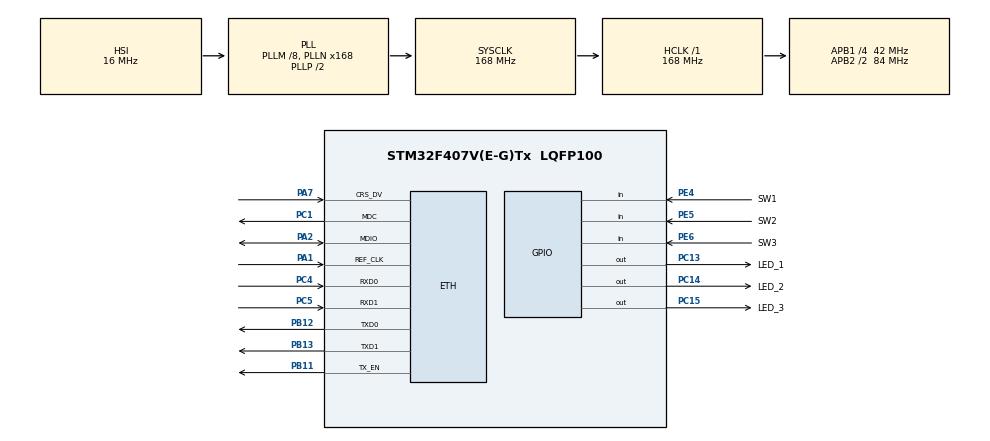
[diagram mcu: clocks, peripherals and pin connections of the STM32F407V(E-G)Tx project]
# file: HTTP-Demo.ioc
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Mcu.Family=STM32F4
RCC.CortexFreq_Value=168000000
LWIP.LWIP_HTTPD_SSI=1
LWIP.LWIP_HTTPD_MAX_TAG_INSERT_LEN=256
PC5.Mode=RMII
PB11.Signal=ETH_TX_EN
PB13.Signal=ETH_TXD1
PC15-OSC32_OUT.GPIO_Label=LED_3
PE6.GPIO_Label=SW3
RCC.SYSCLKSource=RCC_SYSCLKSOURCE_PLLCLK
ProjectManager.StackSize=0x400
VP_FREERTOS_VS_CMSIS_V2.Mode=CMSIS_V2
LWIP.NETMASK_ADDRESS=255.255.255.000
LWIP.LWIP_HTTPD=1
RCC.HCLKFreq_Value=168000000
RCC.APB2TimFreq_Value=168000000
PE5.Signal=GPIO_Input
RCC.AHBFreq_Value=168000000
NVIC.ETH_IRQn=true\:5\:0\:false\:false\:true\:true\:false\:true
RCC.HSE_VALUE=25000000
PC13-ANTI_TAMP.Signal=GPIO_Output
PA14.Mode=Serial_Wire
VP_SYS_VS_tim1.Mode=TIM1
PE4.GPIO_Label=SW1
ETH.RxMode=ETH_RXINTERRUPT_MODE
LWIP.LWIP_HTTPD_CGI=1
PE4.Signal=GPIO_Input
Mcu.Package=LQFP100
PB12.Mode=RMII
NVIC.TimeBase=TIM1_UP_TIM10_IRQn
LWIP.LWIP_HTTPD_SUPPORT_11_KEEPALIVE=1
NVIC.TimeBaseIP=TIM1
RCC.APB2CLKDivider=RCC_HCLK_DIV2
RCC.APB1TimFreq_Value=84000000
PC14-OSC32_IN.GPIO_Label=LED_2
PC5.Signal=ETH_RXD1
PB13.Mode=RMII
PC4.Mode=RMII
LWIP.IP_ADDRESS=192.168.100.100
FREERTOS.Tasks01=mainTask,24,128,StartMainTask,Default,NULL,Static,mainTaskBuffer,mainTaskControlBlock
PA7.Mode=RMII
PC13-ANTI_TAMP.GPIO_Label=LED_1
PC4.Signal=ETH_RXD0
LWIP.LWIP_HTTPD_MAX_TAG_NAME_LEN=16
LWIP.LWIP_DHCP=0
RCC.APB1CLKDivider=RCC_HCLK_DIV4
PC14-OSC32_IN.Signal=GPIO_Output
VP_LWIP_VS_Enabled.Mode=Enabled
LWIP.GATEWAY_ADDRESS=192.168.100.250
PA13.Signal=SYS_JTMS-SWDIO
ETH.PHY_Name_RMII=DP83848_PHY_ADDRESS
LWIP.LWIP_HTTPD_SUPPORT_POST=0
PB11.Mode=RMII
ProjectManager.TargetToolchain=MDK-ARM V5.27
RCC.LSE_VALUE=32768
PC15-OSC32_OUT.Signal=GPIO_Output
PA1.Signal=ETH_REF_CLK
board=custom
RCC.VCOOutputFreq_Value=336000000
RCC.APB2Freq_Value=84000000
PA1.Mode=RMII
LWIP.LWIP_HTTPD_CGI_SSI=0
PE6.Signal=GPIO_Input
PA13.Mode=Serial_Wire
Mcu.Name=STM32F407V(E-G)Tx
PA2.Signal=ETH_MDIO
RCC.48MHZClocksFreq_Value=84000000
RCC.SYSCLKFreq_VALUE=168000000
ETH.MediaInterface=ETH_MEDIA_INTERFACE_RMII
PE5.GPIO_Label=SW2
PA14.Signal=SYS_JTCK-SWCLK
ProjectManager.HeapSize=0x200
LWIP.LWIP_HTTPD_CUSTOM_FILES=1
LWIP.Version=v2.1.2_Cube
NVIC.TIM1_UP_TIM10_IRQn=true\:0\:0\:false\:false\:true\:false\:false\:true
RCC.HSI_VALUE=16000000
NVIC.PriorityGroup=NVIC_PRIORITYGROUP_4
RCC.PLLM=8
RCC.PLLN=168
PA2.Mode=RMII
RCC.APB1Freq_Value=42000000
PC1.Signal=ETH_MDC
PB12.Signal=ETH_TXD0
PC1.Mode=RMII
PA7.Signal=ETH_CRS_DV

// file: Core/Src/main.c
/* USER CODE BEGIN Header */
/**
  ******************************************************************************
  * @file           : main.c
  * @brief          : Main program body
  ******************************************************************************
  * @attention
  *
  * <h2><center>&copy; Copyright (c) 2021 STMicroelectronics.
  * All rights reserved.</center></h2>
  *
  * This software component is licensed by ST under Ultimate Liberty license
  * SLA0044, the "License"; You may not use this file except in compliance with
  * the License. You may obtain a copy of the License at:
  *                             www.st.com/SLA0044
  *
  ******************************************************************************
  */
/* USER CODE END Header */
#include "main.h"
#include "cmsis_os.h"
#include "lwip.h"
#include "gpio.h"

void SystemClock_Config(void);
void MX_FREERTOS_Init(void);

int main(void)
{

  /* MCU Configuration--------------------------------------------------------*/

  /* Reset of all peripherals, Initializes the Flash interface and the Systick. */
  HAL_Init();

  /* Configure the system clock */
  SystemClock_Config();

  /* Initialize all configured peripherals */
  MX_GPIO_Init();

  /* Init scheduler */
  osKernelInitialize();  /* Call init function for freertos objects (in freertos.c) */
  MX_FREERTOS_Init();
  /* Start scheduler */
  osKernelStart();

  /* We should never get here as control is now taken by the scheduler */
  /* Infinite loop */
  while (1)
  {

  }
}

void SystemClock_Config(void)
{
  RCC_OscInitTypeDef RCC_OscInitStruct = {0};
  RCC_ClkInitTypeDef RCC_ClkInitStruct = {0};

  /** Configure the main internal regulator output voltage
  */
  __HAL_RCC_PWR_CLK_ENABLE();
  __HAL_PWR_VOLTAGESCALING_CONFIG(PWR_REGULATOR_VOLTAGE_SCALE1);
  /** Initializes the RCC Oscillators according to the specified parameters
  * in the RCC_OscInitTypeDef structure.
  */
  RCC_OscInitStruct.OscillatorType = RCC_OSCILLATORTYPE_HSI;
  RCC_OscInitStruct.HSIState = RCC_HSI_ON;
  RCC_OscInitStruct.HSICalibrationValue = RCC_HSICALIBRATION_DEFAULT;
  RCC_OscInitStruct.PLL.PLLState = RCC_PLL_ON;
  RCC_OscInitStruct.PLL.PLLSource = RCC_PLLSOURCE_HSI;
  RCC_OscInitStruct.PLL.PLLM = 8;
  RCC_OscInitStruct.PLL.PLLN = 168;
  RCC_OscInitStruct.PLL.PLLP = RCC_PLLP_DIV2;
  RCC_OscInitStruct.PLL.PLLQ = 4;
  if (HAL_RCC_OscConfig(&RCC_OscInitStruct) != HAL_OK)
  {
    Error_Handler();
  }
  /** Initializes the CPU, AHB and APB buses clocks
  */
  RCC_ClkInitStruct.ClockType = RCC_CLOCKTYPE_HCLK|RCC_CLOCKTYPE_SYSCLK
                              |RCC_CLOCKTYPE_PCLK1|RCC_CLOCKTYPE_PCLK2;
  RCC_ClkInitStruct.SYSCLKSource = RCC_SYSCLKSOURCE_PLLCLK;
  RCC_ClkInitStruct.AHBCLKDivider = RCC_SYSCLK_DIV1;
  RCC_ClkInitStruct.APB1CLKDivider = RCC_HCLK_DIV4;
  RCC_ClkInitStruct.APB2CLKDivider = RCC_HCLK_DIV2;

  if (HAL_RCC_ClockConfig(&RCC_ClkInitStruct, FLASH_LATENCY_5) != HAL_OK)
  {
    Error_Handler();
  }
}

 /**
  * @brief  Period elapsed callback in non blocking mode
  * @note   This function is called  when TIM1 interrupt took place, inside
  * HAL_TIM_IRQHandler(). It makes a direct call to HAL_IncTick() to increment
  * a global variable "uwTick" used as application time base.
  * @param  htim : TIM handle
  * @retval None
  */
void HAL_TIM_PeriodElapsedCallback(TIM_HandleTypeDef *htim)
{
  if (htim->Instance == TIM1) {
    HAL_IncTick();
  }
}

void Error_Handler(void)
{
  __disable_irq();
  while (1)
  {
  }
}

/************************ (C) COPYRIGHT STMicroelectronics *****END OF FILE****/

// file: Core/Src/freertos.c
/* USER CODE BEGIN Header */
/**
  ******************************************************************************
  * File Name          : freertos.c
  * Description        : Code for freertos applications
  ******************************************************************************
  * @attention
  *
  * <h2><center>&copy; Copyright (c) 2021 STMicroelectronics.
  * All rights reserved.</center></h2>
  *
  * This software component is licensed by ST under Ultimate Liberty license
  * SLA0044, the "License"; You may not use this file except in compliance with
  * the License. You may obtain a copy of the License at:
  *                             www.st.com/SLA0044
  *
  ******************************************************************************
  */
/* USER CODE END Header */

#include "FreeRTOS.h"
#include "task.h"
#include "main.h"
#include "cmsis_os.h"

/* USER CODE BEGIN Includes */
#include "lwip/apps/httpd.h"
#include "lwip/apps/fs.h"
#include <string.h>
#include "smm_hd44780.h"
/* USER CODE END Includes */

typedef StaticTask_t osStaticThreadDef_t;

/* Definitions for mainTask */
osThreadId_t mainTaskHandle;
uint32_t mainTaskBuffer[ 128 ];
osStaticThreadDef_t mainTaskControlBlock;
const osThreadAttr_t mainTask_attributes = {
  .name = "mainTask",
  .stack_mem = &mainTaskBuffer[0],
  .stack_size = sizeof(mainTaskBuffer),
  .cb_mem = &mainTaskControlBlock,
  .cb_size = sizeof(mainTaskControlBlock),
  .priority = (osPriority_t) osPriorityNormal,
};

/* USER CODE BEGIN FunctionPrototypes */
static const char* WEB_SSI_TAGS[] = {
	"sw1",
	"sw2",
	"sw3",
};

static const char HIGH[] = "High";
static const int HIGH_LEN = sizeof(HIGH) - 1;
static const char LOW[] = "Low";
static const int LOW_LEN = sizeof(LOW) - 1;

static const char* swStates[] = {
	HIGH,
	HIGH,
	HIGH,
};

static const int WEB_SSI_TAGS_LEN = sizeof(WEB_SSI_TAGS) / sizeof(WEB_SSI_TAGS[0]);

static const char MY_PAGE[] = "This is My Page";
static const int MY_PAGE_LEN = sizeof(MY_PAGE) - 1;

static const char PAGE_DONE[] = "Done";
static const int PAGE_DONE_LEN = sizeof(PAGE_DONE) - 1;

static const char PAGE_ERROR[] = "Error";
static const int PAGE_ERROR_LEN = sizeof(PAGE_ERROR) - 1;

u16_t Web_ssiHandler(
#if LWIP_HTTPD_SSI_RAW
                             const char* ssi_tag_name,
#else /* LWIP_HTTPD_SSI_RAW */
                             int iIndex,
#endif /* LWIP_HTTPD_SSI_RAW */
                             char *pcInsert, int iInsertLen
#if LWIP_HTTPD_SSI_MULTIPART
                             , u16_t current_tag_part, u16_t *next_tag_part
#endif /* LWIP_HTTPD_SSI_MULTIPART */
#if defined(LWIP_HTTPD_FILE_STATE) && LWIP_HTTPD_FILE_STATE
                             , void *connection_state
#endif /* LWIP_HTTPD_FILE_STATE */

														 ) {

	strcpy(pcInsert, swStates[iIndex]);
	return swStates[iIndex] == HIGH ? HIGH_LEN : LOW_LEN;
}

const char* Web_ledHandler(int iIndex, int iNumParams, char *pcParam[], char *pcValue[]) {
	if (iNumParams == 2) {
		if (strcmp(pcParam[0], "num") == 0 && strcmp(pcParam[1], "state") == 0) {
			int num;
			int state;
			sscanf(pcValue[0], "%d", &num);
			sscanf(pcValue[1], "%d", &state);
			if ((num >= 0 && num <= 2) && (state == 0 || state == 1)) {
				switch (num) {
					case 0:
						HAL_GPIO_WritePin(LED_1_GPIO_Port, LED_1_Pin, (GPIO_PinState) state);
						break;
					case 1:
						HAL_GPIO_WritePin(LED_2_GPIO_Port, LED_2_Pin, (GPIO_PinState) state);
						break;
					case 2:
						HAL_GPIO_WritePin(LED_3_GPIO_Port, LED_3_Pin, (GPIO_PinState) state);
						break;
				}
				return "/done";
			}
		}
		return "/error";
	}
	else {
		return "/404.html";
	}
}

const char* Web_alcdHandler(int iIndex, int iNumParams, char *pcParam[], char *pcValue[]) {
	if (iNumParams == 1) {
		if (strcmp(pcParam[0], "text") == 0) {
			HD44780_Clear();
			HD44780_Puts(0, 0, pcValue[0]);
			return "/done";
		}
		else {
			return "/error";
		}
	}
	return "/404.html";
}

int fs_open_custom(struct fs_file *file, const char *name) {
	if (strcmp(name, "/mypage.html") == 0 || strcmp(name, "/mypage") == 0) {
		file->index = MY_PAGE_LEN;
		file->data = MY_PAGE;
		file->len = MY_PAGE_LEN;
		file->pextension = NULL;
		file->flags = 0;
		return 1;
	}
	else if (strcmp(name, "/done") == 0) {
		file->index = PAGE_DONE_LEN;
		file->data = PAGE_DONE;
		file->len = PAGE_DONE_LEN;
		file->pextension = NULL;
		file->flags = 0;
		return 1;
	}
	else if (strcmp(name, "/error") == 0) {
		file->index = PAGE_ERROR_LEN;
		file->data = PAGE_ERROR;
		file->len = PAGE_ERROR_LEN;
		file->pextension = NULL;
		file->flags = 0;
		return 1;
	}
	return 0;
}
void fs_close_custom(struct fs_file *file) {
	/*file->index = 0;
	file->data = NULL;
	file->len = 0;
	file->pextension = NULL;
	file->flags = 0;*/
}
int fs_read_custom(struct fs_file *file, char *buffer, int count) {
	if (file->index < file->len) {
		int left = fs_bytes_left(file);
		if (count < left) {
			left = count;
		}
		memcpy(buffer, &file->data[file->index], count);
		file->index += left;
		return fs_bytes_left(file);
	}
	else {
		return FS_READ_EOF;
	}
}

static const tCGI WEB_CGI_HANDLERS[] = {
	{"/led", Web_ledHandler},
	{"/alcd", Web_alcdHandler},
};
static const int WEB_CGI_HANDLERS_LEN = sizeof(WEB_CGI_HANDLERS) / sizeof(WEB_CGI_HANDLERS[0]);

/* USER CODE END FunctionPrototypes */

void StartMainTask(void *argument);

extern void MX_LWIP_Init(void);
void MX_FREERTOS_Init(void); /* (MISRA C 2004 rule 8.1) */

void MX_FREERTOS_Init(void) {

  /* Create the thread(s) */
  /* creation of mainTask */
  mainTaskHandle = osThreadNew(StartMainTask, NULL, &mainTask_attributes);

}

void StartMainTask(void *argument)
{
  /* init code for LWIP */
  MX_LWIP_Init();
  /* USER CODE BEGIN StartMainTask */
  /* Infinite loop */
	HD44780_Init(16, 2);
	httpd_init();
	http_set_ssi_handler(Web_ssiHandler, WEB_SSI_TAGS, WEB_SSI_TAGS_LEN);
	http_set_cgi_handlers(WEB_CGI_HANDLERS, WEB_CGI_HANDLERS_LEN);
  for(;;)
  {
		swStates[0] = HAL_GPIO_ReadPin(SW1_GPIO_Port, SW1_Pin) ? HIGH : LOW;
		swStates[1] = HAL_GPIO_ReadPin(SW2_GPIO_Port, SW2_Pin) ? HIGH : LOW;
		swStates[2] = HAL_GPIO_ReadPin(SW3_GPIO_Port, SW3_Pin) ? HIGH : LOW;
    osDelay(50);
  }
  /* USER CODE END StartMainTask */
}

/************************ (C) COPYRIGHT STMicroelectronics *****END OF FILE****/
